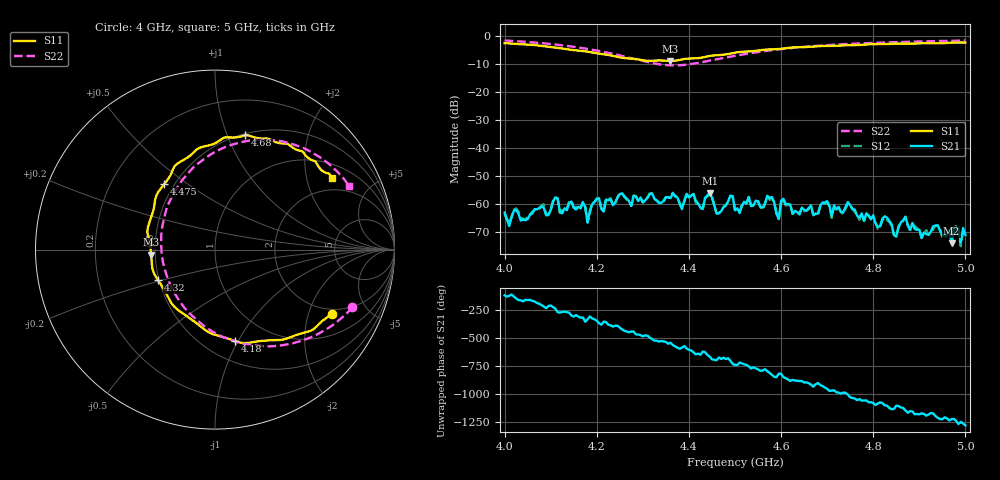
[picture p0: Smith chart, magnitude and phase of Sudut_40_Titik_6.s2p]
# Hz S RI R 50
! CMT, C1220, 16058040, 17.2.0/1
! Date: 15/08/2018 12:09:01
! Data: Format (Calibration Info)
! Freq  S11: Re/Im (F2)  S21: Re/Im (F2)  S12: Re/Im (F2)  S22: Re/Im (F2)
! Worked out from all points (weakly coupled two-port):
!   201 points, 4 GHz to 5 GHz, reference 50 ohm
!   highest |S21| = -56.24 dB at 4.445 GHz (marker M1); lowest = -74.2 dB at 4.97 GHz (marker M2)
!   lowest |S11| = -8.9 dB at 4.36 GHz (marker M3), VSWR 2.11, Z = 23.7 - j1.52 ohm
!   |S11| at or under -10 dB: nowhere
!   |S22| runs from -10.5 to -1.6 dB; largest |S21 - S12| = 0.00014
!   S11 on the Smith chart (normalised r, x): 4 GHz: 1.80, -2.88; 4.18 GHz: 0.70, -0.98; 4.32 GHz: 0.49, -0.19; 4.475 GHz: 0.44, +0.41; 4.68 GHz: 0.52, +1.16; 5 GHz: 1.49, +2.83
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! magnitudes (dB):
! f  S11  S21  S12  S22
! 4 GHz  -2.6  -63.2  -63.6  -1.6
! 4.01 GHz  -2.7  -68.0  -67.1  -1.7
! 4.17 GHz  -5.4  -59.6  -59.4  -4.4
! 4.18 GHz  -5.6  -66.8  -66.6  -4.6
! 4.2 GHz  -6.2  -58.3  -58.1  -5.2
! 4.32 GHz  -8.9  -56.3  -56.3  -9.7
! 4.335 GHz  -8.8  -59.7  -59.4  -10.1
! 4.36 GHz  -8.9  -58.0  -57.9  -10.5
! 4.43 GHz  -7.7  -61.8  -62.0  -9.4
! 4.445 GHz  -7.2  -56.2  -56.3  -8.8
! 4.475 GHz  -6.7  -61.2  -61.3  -7.9
! 4.5 GHz  -6.0  -62.4  -62.2  -7.1
! 4.57 GHz  -4.9  -57.2  -57.6  -5.3
! 4.595 GHz  -4.7  -65.3  -65.6  -4.8
! 4.605 GHz  -4.5  -58.3  -58.3  -4.6
! 4.67 GHz  -3.7  -64.0  -64.1  -3.6
! 4.68 GHz  -3.6  -63.6  -64.2  -3.5
! 4.745 GHz  -3.3  -59.4  -60.0  -2.9
! 4.835 GHz  -2.9  -66.2  -66.5  -2.3
! 4.97 GHz  -2.4  -74.2  -73.4  -1.7
! 4.98 GHz  -2.3  -68.3  -67.5  -1.7
! 5 GHz  -2.4  -71.2  -70.8  -1.6
